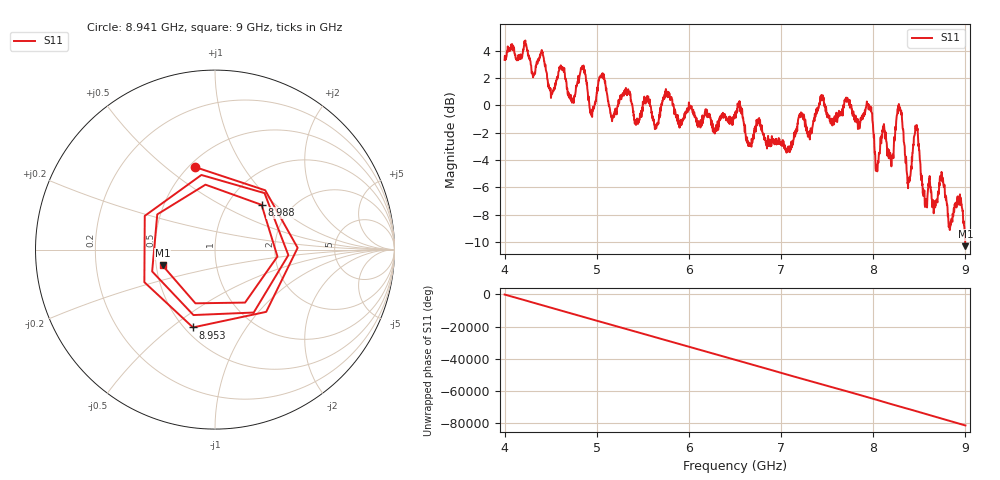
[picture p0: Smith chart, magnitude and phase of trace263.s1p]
! Created with skrf 1.8.0 (http://scikit-rf.org).
# Hz S RI R 50.0
!freq ReS11 ImS11
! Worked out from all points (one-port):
!   1601 points, 4 GHz to 9 GHz, reference 50 ohm
!   lowest |S11| = -10.3 dB at 9 GHz (marker M1), VSWR 1.88, Z = 27 - j5.27 ohm
!   |S11| at or under -10 dB: 8.997518 GHz to end of sweep
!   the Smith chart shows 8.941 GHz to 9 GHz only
!   S11 on the Smith chart (normalised r, x): 8.941 GHz: 0.54, +0.64; 8.953 GHz: 0.55, -0.60; 8.988 GHz: 1.43, +0.82; 9 GHz: 0.54, -0.11
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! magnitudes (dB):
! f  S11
! 4 GHz  3.3
! 4.403 GHz  4.1
! 4.509 GHz  0.8
! 4.625 GHz  2.8
! 4.728 GHz  0.5
! 4.853 GHz  2.6
! 4.944 GHz  -0.8
! 5.053 GHz  2.1
! 5.166 GHz  -1.2
! 5.25 GHz  0.4
! 5.875 GHz  -1.0
! 6.5 GHz  -0.7
! 7.125 GHz  -2.8
! 7.438 GHz  0.8
! 7.75 GHz  0.1
! 7.962 GHz  -0.2
! 8.047 GHz  -4.7
! 8.112 GHz  -1.5
! 8.2 GHz  -4.0
! 8.288 GHz  -0.3
! 8.375 GHz  -5.6
! 8.466 GHz  -1.6
! 8.562 GHz  -7.4
! 8.834 GHz  -8.9
! 8.941 GHz  -6.5
! 8.953 GHz  -6.9
! 8.988 GHz  -8.9
! 9 GHz  -10.3
